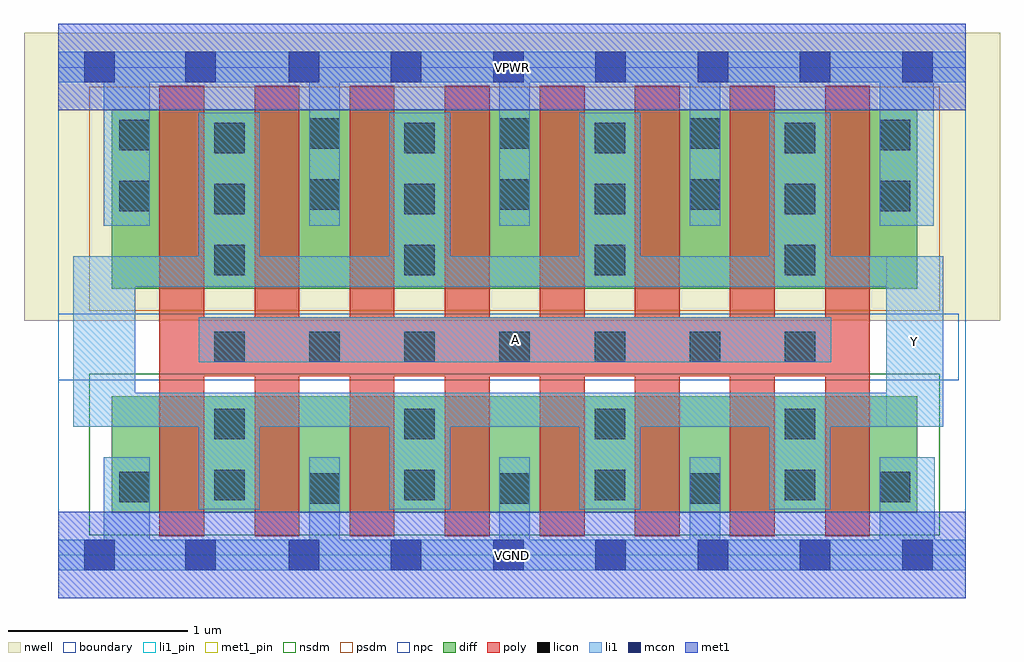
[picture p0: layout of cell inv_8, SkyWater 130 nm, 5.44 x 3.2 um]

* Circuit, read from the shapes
.subckt inv_8 A VGND VPWR Y
XM1 Y A VGND VSUBS sky130_fd_pr__nfet_01v8 w=0.65 l=0.25 m=8
XM2 Y A VPWR n1 sky130_fd_pr__pfet_01v8 w=1 l=0.25 m=8
.ends

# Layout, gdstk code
import gdstk
lib = gdstk.Library(unit=1e-6, precision=1e-09)
def R(c, l, rs):  # rectangles x0, y0, x1, y1
    for r in rs: c.add(gdstk.rectangle(r[:2], r[2:], *l))
def A(c, l, x, y, w, h, nx, ny, dx, dy):  # array of equal rectangles
    R(c, l, [(x+i*dx, y+j*dy, x+i*dx+w, y+j*dy+h) for i in range(nx) for j in range(ny)])
nwell = (64, 20)
diff = (65, 20)
poly = (66, 20)
licon = (66, 44)
li1_pin = (67, 16)
li1 = (67, 20)
mcon = (67, 44)
met1_pin = (68, 16)
met1 = (68, 20)
nsdm = (93, 44)
psdm = (94, 20)
npc = (95, 20)
boundary = (235, 4)

inv_8 = lib.new_cell('inv_8')
R(inv_8, nwell, [(-0.19,1.305,5.25,2.91), (0,1.305,5.06,2.91)])
R(inv_8, diff, [(0.3,0.235,4.79,0.885), (0.3,1.485,4.79,2.485)])
A(inv_8, poly, 0.565, 0.105, 0.25, 2.51, 8, 1, 0.53, 0)
R(inv_8, poly, [(0.565,0.995,4.525,1.325)])
A(inv_8, licon, 1.4, 0.285, 0.17, 0.17, 3, 2, 1.06, 1.64)
A(inv_8, licon, 0.87, 0.305, 0.17, 0.17, 4, 2, 1.06, 0.34)
A(inv_8, licon, 0.87, 1.075, 0.17, 0.17, 7, 1, 0.53, 0)
A(inv_8, licon, 0.87, 1.56, 0.17, 0.17, 4, 3, 1.06, 0.34)
A(inv_8, licon, 1.4, 2.265, 0.17, 0.17, 3, 1, 1.06, 0)
R(inv_8, licon, [(0.34,0.295,0.51,0.465), (4.58,0.295,4.75,0.465), (0.34,1.915,0.51,2.085), (4.58,1.915,4.75,2.085), (0.34,2.255,0.51,2.425), (4.58,2.255,4.75,2.425)])
R(inv_8, li1_pin, [(4.615,0.715,4.935,1.665), (0.785,1.075,4.31,1.325)])
A(inv_8, li1, 1.4, -0.085, 0.17, 0.63, 3, 1, 1.06, 0)
A(inv_8, li1, 0.785, 0.255, 0.34, 0.65, 4, 1, 1.06, 0)
A(inv_8, li1, 0.785, 1.495, 0.34, 0.97, 4, 1, 1.06, 0)
A(inv_8, li1, 1.4, 1.835, 0.17, 0.97, 3, 1, 1.06, 0)
R(inv_8, li1, [(0,-0.085,5.06,0.085), (0.255,-0.085,0.51,0.545), (4.58,-0.085,4.885,0.545), (0.085,0.715,4.935,0.905), (0.085,0.715,0.43,1.665), (4.615,0.715,4.935,1.665), (0.785,1.075,4.31,1.325), (0.085,1.495,4.935,1.665), (0.255,1.835,0.51,2.805), (4.58,1.835,4.88,2.805), (0,2.635,5.06,2.805)])
A(inv_8, mcon, 1.285, -0.085, 0.17, 0.17, 7, 2, 0.57, 2.72)
R(inv_8, mcon, [(0.145,-0.085,0.315,0.085), (0.71,-0.085,0.88,0.085), (0.145,2.635,0.315,2.805), (0.71,2.635,0.88,2.805)])
R(inv_8, met1_pin, [(0,-0.24,5.06,0.24), (0,2.48,5.06,2.96)])
R(inv_8, met1, [(0,-0.24,5.06,0.24), (0,2.48,5.06,2.96)])
R(inv_8, nsdm, [(0.175,0.11,4.915,1.01)])
R(inv_8, psdm, [(0.175,1.36,4.915,2.61)])
R(inv_8, npc, [(0,0.975,5.02,1.345)])
R(inv_8, boundary, [(0,0,5.06,2.72)])
inv_8.add(gdstk.Label('A', (2.547,1.2), layer=67, texttype=5))
inv_8.add(gdstk.Label('Y', (4.775,1.19), layer=67, texttype=5))
inv_8.add(gdstk.Label('VPWR', (2.53,2.72), layer=68, texttype=5))
inv_8.add(gdstk.Label('VGND', (2.53,0), layer=68, texttype=5))
inv_8.add(gdstk.Label('A', (2.547,1.2), layer=67, texttype=16))
inv_8.add(gdstk.Label('Y', (4.775,1.19), layer=67, texttype=16))
inv_8.add(gdstk.Label('VPWR', (2.53,2.72), layer=68, texttype=16))
inv_8.add(gdstk.Label('VGND', (2.53,0), layer=68, texttype=16))

lib.write_gds('inv_8.gds')
